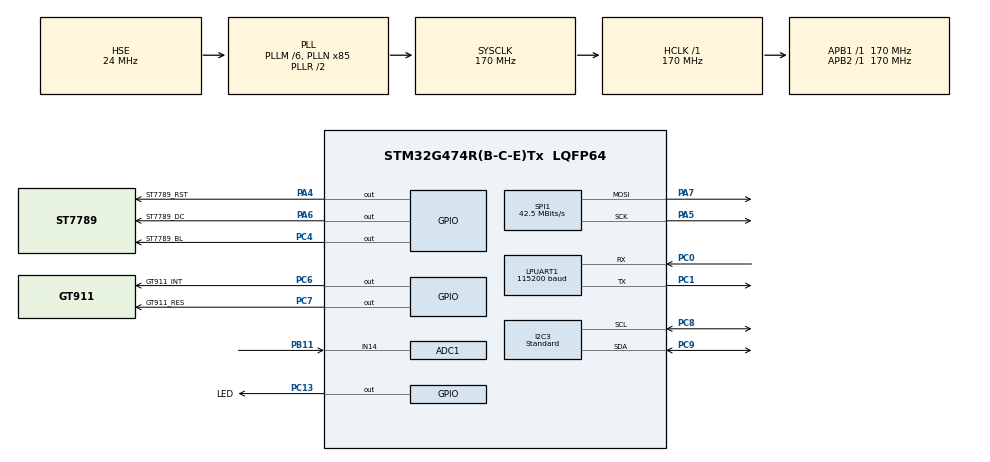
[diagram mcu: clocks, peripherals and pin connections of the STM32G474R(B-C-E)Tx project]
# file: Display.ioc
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ADC1.Channel-0\#ChannelRegularConversion=ADC_CHANNEL_14
ADC1.NbrOfConversionFlag=1
ADC1.OffsetNumber-0\#ChannelRegularConversion=ADC_OFFSET_NONE
ADC1.Rank-0\#ChannelRegularConversion=1
ADC1.SamplingTime-0\#ChannelRegularConversion=ADC_SAMPLETIME_2CYCLES_5
ADC1.master=1
Dma.LPUART1_TX.1.Direction=DMA_MEMORY_TO_PERIPH
Dma.LPUART1_TX.1.EventEnable=DISABLE
Dma.LPUART1_TX.1.Instance=DMA1_Channel2
Dma.LPUART1_TX.1.MemDataAlignment=DMA_MDATAALIGN_BYTE
Dma.LPUART1_TX.1.MemInc=DMA_MINC_ENABLE
Dma.LPUART1_TX.1.Mode=DMA_NORMAL
Dma.LPUART1_TX.1.PeriphDataAlignment=DMA_PDATAALIGN_BYTE
Dma.LPUART1_TX.1.PeriphInc=DMA_PINC_DISABLE
Dma.LPUART1_TX.1.Polarity=HAL_DMAMUX_REQ_GEN_RISING
Dma.LPUART1_TX.1.Priority=DMA_PRIORITY_VERY_HIGH
Dma.LPUART1_TX.1.RequestNumber=1
Dma.LPUART1_TX.1.SignalID=NONE
Dma.LPUART1_TX.1.SyncEnable=DISABLE
Dma.LPUART1_TX.1.SyncPolarity=HAL_DMAMUX_SYNC_NO_EVENT
Dma.LPUART1_TX.1.SyncRequestNumber=1
Dma.LPUART1_TX.1.SyncSignalID=NONE
Dma.Request0=SPI1_TX
Dma.Request1=LPUART1_TX
Dma.SPI1_TX.0.Direction=DMA_MEMORY_TO_PERIPH
Dma.SPI1_TX.0.EventEnable=DISABLE
Dma.SPI1_TX.0.Instance=DMA1_Channel1
Dma.SPI1_TX.0.MemDataAlignment=DMA_MDATAALIGN_BYTE
Dma.SPI1_TX.0.MemInc=DMA_MINC_ENABLE
Dma.SPI1_TX.0.Mode=DMA_NORMAL
Dma.SPI1_TX.0.PeriphDataAlignment=DMA_PDATAALIGN_BYTE
Dma.SPI1_TX.0.PeriphInc=DMA_PINC_DISABLE
Dma.SPI1_TX.0.Polarity=HAL_DMAMUX_REQ_GEN_RISING
Dma.SPI1_TX.0.Priority=DMA_PRIORITY_HIGH
Dma.SPI1_TX.0.RequestNumber=1
Dma.SPI1_TX.0.SignalID=NONE
Dma.SPI1_TX.0.SyncEnable=DISABLE
Dma.SPI1_TX.0.SyncPolarity=HAL_DMAMUX_SYNC_NO_EVENT
Dma.SPI1_TX.0.SyncRequestNumber=1
Dma.SPI1_TX.0.SyncSignalID=NONE
I2C3.I2C_Speed_Mode=I2C_Standard
I2C3.Timing=0x30A0A7FB
LPUART1.BaudRate=115200
Mcu.Family=STM32G4
Mcu.Name=STM32G474R(B-C-E)Tx
Mcu.Package=LQFP64
NVIC.DMA1_Channel1_IRQn=true\:2\:0\:true\:false\:true\:false\:true\:true
NVIC.DMA1_Channel2_IRQn=true\:4\:0\:true\:false\:true\:false\:true\:true
NVIC.PriorityGroup=NVIC_PRIORITYGROUP_4
NVIC.SPI1_IRQn=true\:1\:0\:true\:false\:true\:true\:true\:true
NVIC.TIM6_DAC_IRQn=true\:14\:0\:true\:false\:true\:true\:true\:true
PA13.Mode=Serial_Wire
PA13.Signal=SYS_JTMS-SWDIO
PA14.Mode=Serial_Wire
PA14.Signal=SYS_JTCK-SWCLK
PA4.GPIO_Label=ST7789_RST
PA4.GPIO_PuPd=GPIO_PULLUP
PA4.GPIO_Speed=GPIO_SPEED_FREQ_VERY_HIGH
PA4.Signal=GPIO_Output
PA5.GPIO_PuPd=GPIO_PULLDOWN
PA5.GPIO_Speed=GPIO_SPEED_FREQ_VERY_HIGH
PA5.Mode=TX_Only_Simplex_Unidirect_Master
PA5.Signal=SPI1_SCK
PA6.GPIO_Label=ST7789_DC
PA6.GPIO_PuPd=GPIO_PULLUP
PA6.GPIO_Speed=GPIO_SPEED_FREQ_VERY_HIGH
PA6.PinState=GPIO_PIN_SET
PA6.Signal=GPIO_Output
PA7.GPIO_PuPd=GPIO_PULLDOWN
PA7.GPIO_Speed=GPIO_SPEED_FREQ_VERY_HIGH
PA7.Mode=TX_Only_Simplex_Unidirect_Master
PA7.Signal=SPI1_MOSI
PB11.Signal=SharedAnalog_PB11
PC0.Mode=Asynchronous
PC0.Signal=LPUART1_RX
PC1.Mode=Asynchronous
PC1.Signal=LPUART1_TX
PC13.GPIO_Label=LED
PC13.Signal=GPIO_Output
PC4.GPIO_Label=ST7789_BL
PC4.GPIO_PuPd=GPIO_PULLUP
PC4.Signal=GPIO_Output
PC6.GPIO_Label=GT911_INT
PC6.GPIO_Speed=GPIO_SPEED_FREQ_HIGH
PC6.Signal=GPIO_Output
PC7.GPIO_Label=GT911_RES
PC7.GPIO_PuPd=GPIO_PULLUP
PC7.GPIO_Speed=GPIO_SPEED_FREQ_HIGH
PC7.Signal=GPIO_Output
PC8.GPIO_Speed=GPIO_SPEED_FREQ_VERY_HIGH
PC8.Mode=I2C
PC8.Signal=I2C3_SCL
PC9.GPIO_Speed=GPIO_SPEED_FREQ_VERY_HIGH
PC9.Mode=I2C
PC9.Signal=I2C3_SDA
PF0-OSC_IN.Mode=HSE-External-Oscillator
PF0-OSC_IN.Signal=RCC_OSC_IN
PF1-OSC_OUT.Mode=HSE-External-Oscillator
PF1-OSC_OUT.Signal=RCC_OSC_OUT
ProjectManager.HeapSize=0xC000
ProjectManager.StackSize=0x2000
ProjectManager.TargetToolchain=MDK-ARM V5.32
RCC.ADC12Freq_Value=170000000
RCC.ADC345Freq_Value=170000000
RCC.AHBFreq_Value=170000000
RCC.APB1Freq_Value=170000000
RCC.APB1TimFreq_Value=170000000
RCC.APB2Freq_Value=170000000
RCC.APB2TimFreq_Value=170000000
RCC.CK48CLockSelection=RCC_USBCLKSOURCE_HSI48
RCC.CortexFreq_Value=170000000
RCC.EXTERNAL_CLOCK_VALUE=12288000
RCC.HCLKFreq_Value=170000000
RCC.HSE_VALUE=24000000
RCC.HSI48_VALUE=48000000
RCC.HSI_VALUE=16000000
RCC.LSE_VALUE=32768
RCC.PLLM=RCC_PLLM_DIV6
RCC.PLLN=85
RCC.PLLSourceVirtual=RCC_PLLSOURCE_HSE
RCC.SYSCLKFreq_VALUE=170000000
RCC.SYSCLKSource=RCC_SYSCLKSOURCE_PLLCLK
RCC.USBFreq_Value=48000000
RCC.VCOOutputFreq_Value=340000000
SH.SharedAnalog_PB11.0=GPIO_Analog
SH.SharedAnalog_PB11.1=ADC1_IN14,IN14-Single-Ended
SPI1.BaudRatePrescaler=SPI_BAUDRATEPRESCALER_4
SPI1.CLKPhase=SPI_PHASE_1EDGE
SPI1.CLKPolarity=SPI_POLARITY_HIGH
SPI1.CalculateBaudRate=42.5 MBits/s
SPI1.DataSize=SPI_DATASIZE_8BIT
SPI1.Direction=SPI_DIRECTION_2LINES
SPI1.Mode=SPI_MODE_MASTER
SPI1.VirtualType=VM_MASTER
TIM6.AutoReloadPreload=TIM_AUTORELOAD_PRELOAD_ENABLE
TIM6.PeriodNoDither=1000-1
TIM6.Prescaler=170-1
VP_SYS_VS_DBSignals.Mode=DisableDeadBatterySignals
VP_TIM6_VS_ClockSourceINT.Mode=Enable_Timer
board=custom

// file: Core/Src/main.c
/* USER CODE BEGIN Header */
/**
  ******************************************************************************
  * @file           : main.c
  * @brief          : Main program body
  ******************************************************************************
  * @attention
  *
  * Copyright (c) 2024 STMicroelectronics.
  * All rights reserved.
  *
  * This software is licensed under terms that can be found in the LICENSE file
  * in the root directory of this software component.
  * If no LICENSE file comes with this software, it is provided AS-IS.
  *
  ******************************************************************************
  */
/* USER CODE END Header */
#include "main.h"
#include "adc.h"
#include "dma.h"
#include "i2c.h"
#include "usart.h"
#include "spi.h"
#include "tim.h"
#include "gpio.h"

/* USER CODE BEGIN Includes */
#include "st7789.h"
#include "gt911.h"
//#include "usbd_cdc_if.h"
#include <stdio.h>
#include <string.h>
#include "lvgl.h"
#include "lv_port_disp.h"
#include "lv_port_indev.h"
#include "gui.h"
/* USER CODE END Includes */

/* USER CODE BEGIN PV */
static uint8_t txBuffer[100];
// uint8_t flagTouch = 0;
// uint16_t touchPoint[2]; // {x,y}
// uint8_t touchPointNum;
uint8_t flagLVGLTimerHandler;
uint16_t LVGLTimerHandlerCount;
/* USER CODE END PV */

void SystemClock_Config(void);
/* USER CODE BEGIN PFP */
void disp_clear();
/* USER CODE END PFP */

int main(void)
{

  /* MCU Configuration--------------------------------------------------------*/

  /* Reset of all peripherals, Initializes the Flash interface and the Systick. */
  HAL_Init();

  /* Configure the system clock */
  SystemClock_Config();

  /* Initialize all configured peripherals */
  MX_GPIO_Init();
  MX_DMA_Init();
  MX_SPI1_Init();
  MX_ADC1_Init();
  MX_I2C3_Init();
  MX_LPUART1_UART_Init();
  MX_TIM6_Init();
  /* USER CODE BEGIN 2 */
	//sprintf((char *)txBuffer, "Init: ST7789\n");
	//CDC_Transmit_FS(txBuffer, strlen((char *)txBuffer));
	ST7789_Init();
	//HAL_GPIO_TogglePin(LED_GPIO_Port, LED_Pin);

	//sprintf((char *)txBuffer, "Init: GT911\n");
	//CDC_Transmit_FS(txBuffer, strlen((char *)txBuffer));
	GTP_Init();
	//HAL_GPIO_TogglePin(LED_GPIO_Port, LED_Pin);

	//disp_clear();
  lv_init();
  lv_port_disp_init();
  lv_port_indev_init();
  HAL_TIM_Base_Start_IT(&htim6);

  gui_init();

  /* USER CODE END 2 */

  /* Infinite loop */
  /* USER CODE BEGIN WHILE */
  while (1)
  {
		if(flagLVGLTimerHandler){
      flagLVGLTimerHandler = 0;
      lv_timer_handler();
    }
    /* USER CODE END WHILE */

  }
}

void SystemClock_Config(void)
{
  RCC_OscInitTypeDef RCC_OscInitStruct = {0};
  RCC_ClkInitTypeDef RCC_ClkInitStruct = {0};

  /** Configure the main internal regulator output voltage
  */
  HAL_PWREx_ControlVoltageScaling(PWR_REGULATOR_VOLTAGE_SCALE1_BOOST);

  /** Initializes the RCC Oscillators according to the specified parameters
  * in the RCC_OscInitTypeDef structure.
  */
  RCC_OscInitStruct.OscillatorType = RCC_OSCILLATORTYPE_HSE;
  RCC_OscInitStruct.HSEState = RCC_HSE_ON;
  RCC_OscInitStruct.PLL.PLLState = RCC_PLL_ON;
  RCC_OscInitStruct.PLL.PLLSource = RCC_PLLSOURCE_HSE;
  RCC_OscInitStruct.PLL.PLLM = RCC_PLLM_DIV6;
  RCC_OscInitStruct.PLL.PLLN = 85;
  RCC_OscInitStruct.PLL.PLLP = RCC_PLLP_DIV2;
  RCC_OscInitStruct.PLL.PLLQ = RCC_PLLQ_DIV2;
  RCC_OscInitStruct.PLL.PLLR = RCC_PLLR_DIV2;
  if (HAL_RCC_OscConfig(&RCC_OscInitStruct) != HAL_OK)
  {
    Error_Handler();
  }

  /** Initializes the CPU, AHB and APB buses clocks
  */
  RCC_ClkInitStruct.ClockType = RCC_CLOCKTYPE_HCLK|RCC_CLOCKTYPE_SYSCLK
                              |RCC_CLOCKTYPE_PCLK1|RCC_CLOCKTYPE_PCLK2;
  RCC_ClkInitStruct.SYSCLKSource = RCC_SYSCLKSOURCE_PLLCLK;
  RCC_ClkInitStruct.AHBCLKDivider = RCC_SYSCLK_DIV1;
  RCC_ClkInitStruct.APB1CLKDivider = RCC_HCLK_DIV1;
  RCC_ClkInitStruct.APB2CLKDivider = RCC_HCLK_DIV1;

  if (HAL_RCC_ClockConfig(&RCC_ClkInitStruct, FLASH_LATENCY_4) != HAL_OK)
  {
    Error_Handler();
  }
}

/* USER CODE BEGIN 4 */
void disp_clear()
{
	ST7789_Fill_Color(BLACK);
	ST7789_WriteString(130, 0, "Canvas",Font_11x18, WHITE, BLACK);
	ST7789_WriteString(110, 18, "1 Finger: Draw",Font_7x10, WHITE, BLACK);
	ST7789_WriteString(110, 28, "2 Finger: Clear",Font_7x10, WHITE, BLACK);
}

void HAL_TIM_PeriodElapsedCallback(TIM_HandleTypeDef *htim){
	static uint16_t cnt = 0;

  if(htim->Instance == TIM6){
    lv_tick_inc(1);

		if(cnt++ > 500){
			cnt = 0;
			HAL_GPIO_TogglePin(LED_GPIO_Port, LED_Pin);
		}
  }
}
/* USER CODE END 4 */

void Error_Handler(void)
{
  __disable_irq();
  while (1)
  {
  }
}
